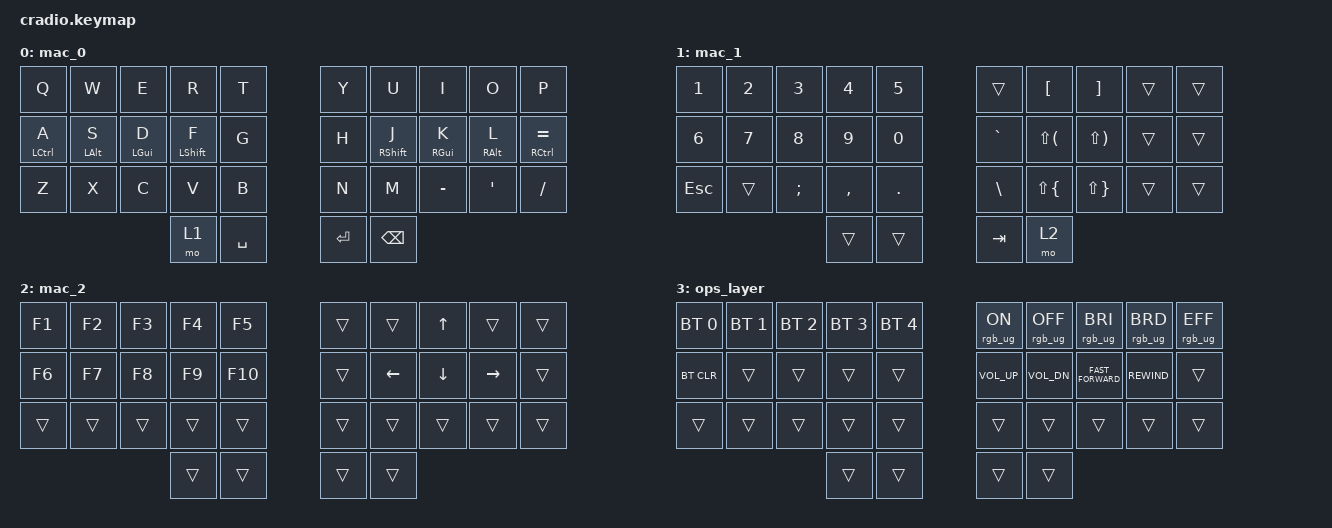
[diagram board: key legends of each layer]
// Copyright (c) 2022 The ZMK Contributors
// SPDX-License-Identifier: MIT

#include <behaviors.dtsi>
#include <dt-bindings/zmk/bt.h>
#include <dt-bindings/zmk/keys.h>
#include <dt-bindings/zmk/rgb.h>

/ {
    // Key position definitions for Ferris Sweep 34-key layout
    // Layout:
    //  0  1  2  3  4      5  6  7  8  9
    // 10 11 12 13 14     15 16 17 18 19
    // 20 21 22 23 24     25 26 27 28 29
    //          30 31     32 33

    behaviors {
        // urob's timeless homerow mods implementation adapted for 34 keys

        hml: homerow_mods_left {
            compatible = "zmk,behavior-hold-tap";
            label = "HOMEROW_MODS_LEFT";
            #binding-cells = <2>;
            flavor = "tap-preferred";
            tapping-term-ms = <210>;
            quick-tap-ms = <175>;
            require-prior-idle-ms = <150>;
            bindings = <&kp>, <&kp>;

            // Right side keys + right thumbs

            hold-trigger-key-positions = <5 6 7 8 9 15 16 17 18 19 25 26 27 28 29 32 33>;
            hold-trigger-on-release;
        };

        hmr: homerow_mods_right {
            compatible = "zmk,behavior-hold-tap";
            label = "HOMEROW_MODS_RIGHT";
            #binding-cells = <2>;
            flavor = "tap-preferred";
            tapping-term-ms = <210>;
            quick-tap-ms = <175>;
            require-prior-idle-ms = <150>;
            bindings = <&kp>, <&kp>;

            // Left side keys + left thumbs

            hold-trigger-key-positions = <0 1 2 3 4 10 11 12 13 14 20 21 22 23 24 30 31>;
            hold-trigger-on-release;
        };
    };

    // Note: Combos (ToggleWindows and Ops_layer) were omitted because they relied 
    // heavily on the outer column keys (like TAB and ENTER) which do not exist on the Sweep.

    keymap {
        compatible = "zmk,keymap";

        mac_0 {
            display-name = "mac_0";
            bindings = <
&kp Q                &kp W        &kp E            &kp R         &kp T        &kp Y      &kp U          &kp I             &kp O             &kp P
&hml LEFT_CONTROL A  &hml LALT S  &hml LEFT_GUI D  &hml LSHFT F  &kp G        &kp H      &hmr RSHFT J   &hmr RIGHT_GUI K  &hmr RALT L       &hmr RIGHT_CONTROL EQUAL
&kp Z                &kp X        &kp C            &kp V         &kp B        &kp N      &kp M          &kp MINUS         &kp SINGLE_QUOTE  &kp FSLH
                                                   &mo 1         &kp SPACE    &kp ENTER  &kp BACKSPACE
            >;
        };

        mac_1 {
            display-name = "mac_1";
            bindings = <
&kp N1      &kp N2  &kp N3    &kp N4     &kp N5        &trans     &kp LBKT      &kp RBKT      &trans  &trans
&kp N6      &kp N7  &kp N8    &kp N9     &kp N0        &kp GRAVE  &kp LS(LPAR)  &kp LS(RPAR)  &trans  &trans
&kp ESCAPE  &trans  &kp SEMI  &kp COMMA  &kp PERIOD    &kp BSLH   &kp LS(LBRC)  &kp LS(RBRC)  &trans  &trans
                              &trans     &trans        &kp TAB    &mo 2
            >;
        };

        mac_2 {
            display-name = "mac_2";
            bindings = <
&kp F1  &kp F2  &kp F3  &kp F4  &kp F5     &trans  &trans    &kp UP_ARROW  &trans     &trans
&kp F6  &kp F7  &kp F8  &kp F9  &kp F10    &trans  &kp LEFT  &kp DOWN      &kp RIGHT  &trans
&trans  &trans  &trans  &trans  &trans     &trans  &trans    &trans        &trans     &trans
                        &trans  &trans     &trans  &trans
            >;
        };

        ops_layer {
            display-name = "ops_layer";
            bindings = <
&bt BT_SEL 0  &bt BT_SEL 1  &bt BT_SEL 2  &bt BT_SEL 3  &bt BT_SEL 4    &rgb_ug RGB_ON   &rgb_ug RGB_OFF  &rgb_ug RGB_BRI     &rgb_ug RGB_BRD  &rgb_ug RGB_EFF
&bt BT_CLR    &trans        &trans        &trans        &trans          &kp C_VOLUME_UP  &kp C_VOL_DN     &kp C_FAST_FORWARD  &kp C_REWIND     &trans
&trans        &trans        &trans        &trans        &trans          &trans           &trans           &trans              &trans           &trans
                                          &trans        &trans          &trans           &trans
            >;
        };
    };
};
